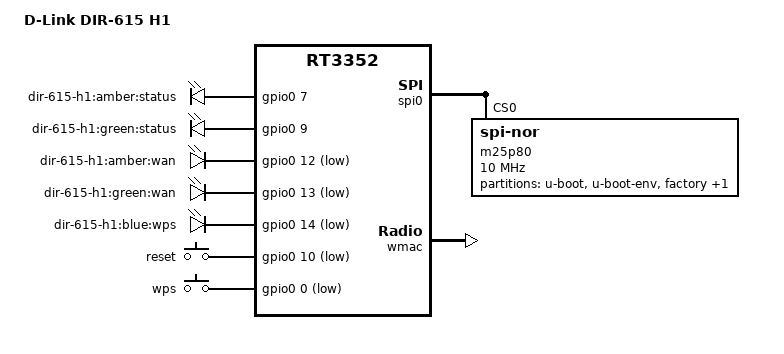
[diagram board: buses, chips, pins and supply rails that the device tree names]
/dts-v1/;

#include "rt3352.dtsi"

/ {
	compatible = "DIR-615-H1", "ralink,rt3352-soc";
	model = "D-Link DIR-615 H1";

	gpio-leds {
		compatible = "gpio-leds";

		status {
			label = "dir-615-h1:amber:status";
			gpios = <&gpio0 7 0>;
		};

		status2 {
			label = "dir-615-h1:green:status";
			gpios = <&gpio0 9 0>;
		};

		wan {
			label = "dir-615-h1:amber:wan";
			gpios = <&gpio0 12 1>;
		};

		wan2 {
			label = "dir-615-h1:green:wan";
			gpios = <&gpio0 13 1>;
		};

		wps {
			label = "dir-615-h1:blue:wps";
			gpios = <&gpio0 14 1>;
		};
	};

	gpio-keys-polled {
		compatible = "gpio-keys-polled";
		#address-cells = <1>;
		#size-cells = <0>;
		poll-interval = <20>;

		reset {
			label = "reset";
			gpios = <&gpio0 10 1>;
			linux,code = <0x198>;
		};

		wps {
			label = "wps";
			gpios = <&gpio0 0 1>;
			linux,code = <0x211>;
		};
	};
};

&spi0 {
	status = "okay";

	m25p80@0 {
		#address-cells = <1>;
		#size-cells = <1>;
		compatible = "jedec,spi-nor";
		reg = <0>;
		linux,modalias = "m25p80", "mx25l3205d";
		spi-max-frequency = <10000000>;

		partition@0 {
			label = "u-boot";
			reg = <0x0 0x30000>;
			read-only;
		};

		partition@30000 {
			label = "u-boot-env";
			reg = <0x30000 0x10000>;
			read-only;
		};

		factory: partition@40000 {
			label = "factory";
			reg = <0x40000 0x10000>;
			read-only;
		};

		partition@50000 {
			label = "firmware";
			reg = <0x50000 0x3b0000>;
		};
	};
};

&pinctrl {
	state_default: pinctrl0 {
		gpio {
			ralink,group = "i2c", "jtag", "uartf";
			ralink,function = "gpio";
		};

		rgmii {
			ralink,group = "rgmii";
			ralink,function = "rgmii";
		};

		mdio {
			ralink,group = "mdio";
			ralink,function = "mdio";
		};
	};
};

&ethernet {
	mtd-mac-address = <&factory 0x28>;
};

&esw {
	mediatek,portmap = <0x2f>;
};

&wmac {
	ralink,mtd-eeprom = <&factory 0>;
};
